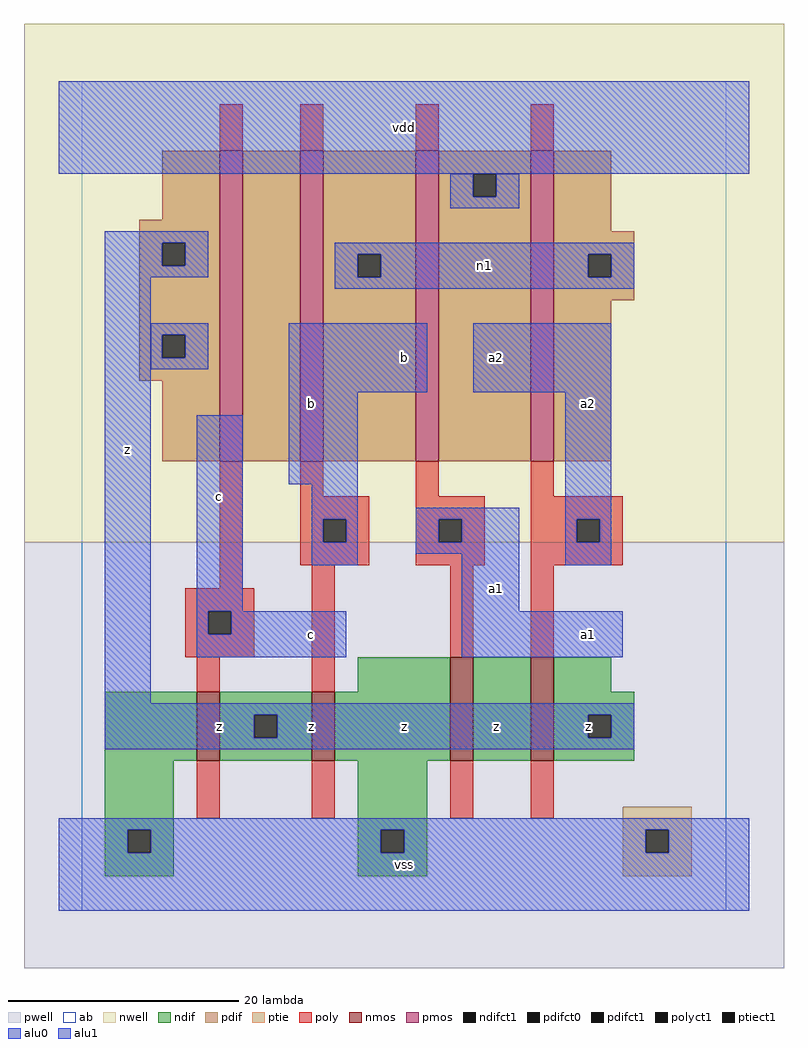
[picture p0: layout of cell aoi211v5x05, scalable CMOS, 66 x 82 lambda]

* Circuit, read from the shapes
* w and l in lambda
.subckt aoi211v5x05 a1 a2 b c n1 vdd vss z
M1 z c vss vss nfet w=6 l=2
M2 vss b z vss nfet w=6 l=2
M3 n2 a1 vss vss nfet w=9 l=2
M4 z a2 n2 vss nfet w=9 l=2
M5 n3 c z n4 pfet w=27 l=2
M6 n1 b n3 n4 pfet w=27 l=2
M7 vdd a1 n1 n4 pfet w=27 l=2
M8 n1 a2 vdd n4 pfet w=27 l=2
.ends

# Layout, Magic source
magic
tech scmos
<< ab >>
rect 0 0 56 72
<< nwell >>
rect -5 32 61 77
<< pwell >>
rect -5 -5 61 32
<< poly >>
rect 12 66 14 70
rect 19 66 21 70
rect 29 66 31 70
rect 39 66 41 70
rect 12 28 14 39
rect 19 36 21 39
rect 29 36 31 39
rect 39 36 41 39
rect 19 34 25 36
rect 19 32 21 34
rect 23 32 25 34
rect 19 30 25 32
rect 29 34 35 36
rect 29 32 31 34
rect 33 32 35 34
rect 29 30 35 32
rect 39 34 47 36
rect 39 32 43 34
rect 45 32 47 34
rect 39 30 47 32
rect 9 26 15 28
rect 9 24 11 26
rect 13 24 15 26
rect 9 22 15 24
rect 10 19 12 22
rect 20 19 22 30
rect 32 22 34 30
rect 39 22 41 30
rect 10 8 12 13
rect 20 8 22 13
rect 32 8 34 13
rect 39 8 41 13
<< ndif >>
rect 24 19 32 22
rect 2 13 10 19
rect 12 17 20 19
rect 12 15 15 17
rect 17 15 20 17
rect 12 13 20 15
rect 22 13 32 19
rect 34 13 39 22
rect 41 19 46 22
rect 41 17 48 19
rect 41 15 44 17
rect 46 15 48 17
rect 41 13 48 15
rect 2 7 8 13
rect 2 5 4 7
rect 6 5 8 7
rect 2 3 8 5
rect 24 7 30 13
rect 24 5 26 7
rect 28 5 30 7
rect 24 3 30 5
<< pdif >>
rect 7 60 12 66
rect 5 58 12 60
rect 5 56 7 58
rect 9 56 12 58
rect 5 50 12 56
rect 5 48 7 50
rect 9 48 12 50
rect 5 46 12 48
rect 7 39 12 46
rect 14 39 19 66
rect 21 57 29 66
rect 21 55 24 57
rect 26 55 29 57
rect 21 39 29 55
rect 31 64 39 66
rect 31 62 34 64
rect 36 62 39 64
rect 31 39 39 62
rect 41 59 46 66
rect 41 57 48 59
rect 41 55 44 57
rect 46 55 48 57
rect 41 53 48 55
rect 41 39 46 53
<< alu1 >>
rect -2 64 58 72
rect 2 58 11 59
rect 2 56 7 58
rect 9 56 11 58
rect 2 55 11 56
rect 2 18 6 55
rect 18 45 30 51
rect 34 45 46 51
rect 10 26 14 43
rect 18 37 24 45
rect 20 34 24 37
rect 20 32 21 34
rect 23 32 24 34
rect 20 30 24 32
rect 29 34 38 35
rect 29 32 31 34
rect 33 32 38 34
rect 29 31 38 32
rect 33 26 38 31
rect 42 34 46 45
rect 42 32 43 34
rect 45 32 46 34
rect 42 30 46 32
rect 10 24 11 26
rect 13 24 23 26
rect 10 22 23 24
rect 33 22 47 26
rect 2 17 48 18
rect 2 15 15 17
rect 17 15 44 17
rect 46 15 48 17
rect 2 14 48 15
rect -2 7 58 8
rect -2 5 4 7
rect 6 5 26 7
rect 28 5 49 7
rect 51 5 58 7
rect -2 0 58 5
<< ptie >>
rect 47 7 53 9
rect 47 5 49 7
rect 51 5 53 7
rect 47 3 53 5
<< nmos >>
rect 10 13 12 19
rect 20 13 22 19
rect 32 13 34 22
rect 39 13 41 22
<< pmos >>
rect 12 39 14 66
rect 19 39 21 66
rect 29 39 31 66
rect 39 39 41 66
<< polyct1 >>
rect 21 32 23 34
rect 31 32 33 34
rect 43 32 45 34
rect 11 24 13 26
<< ndifct1 >>
rect 15 15 17 17
rect 44 15 46 17
rect 4 5 6 7
rect 26 5 28 7
<< ptiect1 >>
rect 49 5 51 7
<< pdifct0 >>
rect 7 48 9 50
rect 24 55 26 57
rect 34 62 36 64
rect 44 55 46 57
<< pdifct1 >>
rect 7 56 9 58
<< alu0 >>
rect 32 62 34 64
rect 36 62 38 64
rect 32 61 38 62
rect 22 57 48 58
rect 22 55 24 57
rect 26 55 44 57
rect 46 55 48 57
rect 22 54 48 55
rect 6 50 11 51
rect 6 48 7 50
rect 9 48 11 50
rect 6 47 11 48
<< labels >>
rlabel alu0 35 56 35 56 6 n1
rlabel alu1 4 40 4 40 6 z
rlabel alu1 20 16 20 16 6 z
rlabel alu1 12 16 12 16 6 z
rlabel alu1 20 24 20 24 6 c
rlabel alu1 12 36 12 36 6 c
rlabel alu1 20 44 20 44 6 b
rlabel alu1 28 4 28 4 6 vss
rlabel alu1 36 16 36 16 6 z
rlabel alu1 28 16 28 16 6 z
rlabel alu1 36 28 36 28 6 a1
rlabel alu1 28 48 28 48 6 b
rlabel alu1 36 48 36 48 6 a2
rlabel alu1 28 68 28 68 6 vdd
rlabel alu1 44 16 44 16 6 z
rlabel alu1 44 24 44 24 6 a1
rlabel alu1 44 44 44 44 6 a2
<< end >>
